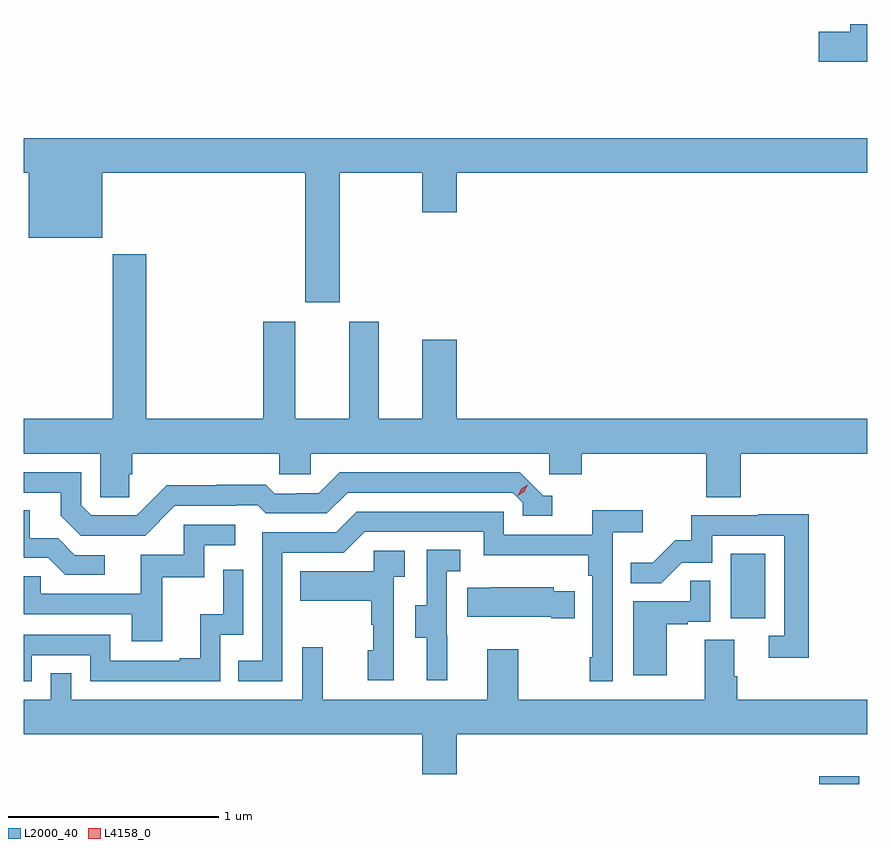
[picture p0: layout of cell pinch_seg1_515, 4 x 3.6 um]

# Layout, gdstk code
import gdstk
lib = gdstk.Library(unit=1e-6, precision=1e-09)
def R(c, l, rs):  # rectangles x0, y0, x1, y1
    for r in rs: c.add(gdstk.rectangle(r[:2], r[2:], *l))
def P(c, l, *ps):  # polygons
    for p in ps: c.add(gdstk.Polygon(p, *l))
L2000_40 = (2000, 40)
L4158_0 = (4158, 0)

pinch_seg1_515 = lib.new_cell('pinch_seg1_515')
R(pinch_seg1_515, L2000_40, [(1077.979,536.845,1078.168,536.881), (1077.56,537.63,1077.724,537.937)])
P(pinch_seg1_515, L2000_40, [(1078.207,540.449),(1078.127,540.449),(1078.127,540.413),(1077.978,540.413),(1077.978,540.271),(1078.207,540.271)],
  [(1075.705,539.744),(1076.096,539.744),(1076.096,539.556),(1076.26,539.556),(1076.26,539.744),(1078.207,539.744),(1078.207,539.908),(1074.207,539.908),(1074.207,539.744),(1074.23,539.744),(1074.23,539.435),(1074.58,539.435),(1074.58,539.744),(1075.541,539.744),(1075.541,539.13),(1075.705,539.13)],
  [(1074.707,538.314),(1074.722,538.314),(1074.722,538.412),(1075.419,538.412),(1075.419,538.314),(1075.569,538.314),(1075.569,538.412),(1076.7,538.412),(1076.7,538.314),(1076.852,538.314),(1076.852,538.412),(1077.443,538.412),(1077.443,538.204),(1077.608,538.204),(1077.608,538.412),(1078.207,538.412),(1078.207,538.576),(1076.26,538.576),(1076.26,538.951),(1076.096,538.951),(1076.096,538.576),(1075.891,538.576),(1075.891,539.038),(1075.751,539.038),(1075.751,538.576),(1075.495,538.576),(1075.495,539.038),(1075.343,539.038),(1075.343,538.576),(1074.788,538.576),(1074.788,539.356),(1074.628,539.356),(1074.628,538.576),(1074.207,538.576),(1074.207,538.412),(1074.57,538.412),(1074.57,538.204),(1074.707,538.204)],
  [(1074.924,538.164),(1075.217,538.164),(1075.217,538.167),(1075.316,538.167),(1075.355,538.128),(1075.644,538.128),(1075.743,538.227),(1076.526,538.227),(1076.574,538.179),(1076.574,538.116),(1076.713,538.116),(1076.713,538.212),(1076.67,538.212),(1076.559,538.323),(1075.706,538.323),(1075.607,538.224),(1075.5,538.224),(1075.5,538.221),(1075.397,538.221),(1075.355,538.264),(1075.122,538.264),(1075.122,538.261),(1074.886,538.261),(1074.744,538.119),(1074.528,538.119),(1074.48,538.167),(1074.48,538.323),(1074.207,538.323),(1074.207,538.227),(1074.383,538.227),(1074.383,538.117),(1074.477,538.023),(1074.783,538.023)],
  [(1075.434,537.942),(1075.725,537.942),(1075.824,538.041),(1076.388,538.041),(1076.388,537.929),(1076.884,537.929),(1076.884,537.833),(1076.904,537.833),(1076.904,537.445),(1076.892,537.445),(1076.892,537.333),(1077,537.333),(1077,538.04),(1077.142,538.04),(1077.142,538.142),(1076.903,538.142),(1076.903,538.026),(1076.484,538.026),(1076.484,538.137),(1075.787,538.137),(1075.688,538.038),(1075.338,538.038),(1075.338,537.429),(1075.225,537.429),(1075.225,537.333),(1075.434,537.333)],
  [(1074.592,537.93),(1074.45,537.93),(1074.37,538.01),(1074.235,538.01),(1074.235,538.142),(1074.207,538.142),(1074.207,537.918),(1074.323,537.918),(1074.404,537.837),(1074.592,537.837)],
  [(1077.929,538.124),(1077.691,538.124),(1077.691,538.119),(1077.373,538.119),(1077.373,538.002),(1077.296,538.002),(1077.189,537.895),(1077.085,537.895),(1077.085,537.796),(1077.229,537.796),(1077.327,537.894),(1077.471,537.894),(1077.471,538.023),(1077.813,538.023),(1077.813,537.549),(1077.741,537.549),(1077.741,537.444),(1077.929,537.444)],
  [(1074.863,537.825),(1075.062,537.825),(1075.062,537.978),(1075.21,537.978),(1075.21,538.074),(1074.966,538.074),(1074.966,537.933),(1074.761,537.933),(1074.761,537.747),(1074.287,537.747),(1074.287,537.831),(1074.207,537.831),(1074.207,537.651),(1074.719,537.651),(1074.719,537.522),(1074.863,537.522)],
  [(1076.216,537.549),(1076.214,537.549),(1076.214,537.853),(1076.278,537.853),(1076.278,537.956),(1076.118,537.956),(1076.118,537.693),(1076.063,537.693),(1076.063,537.538),(1076.117,537.538),(1076.117,537.336),(1076.216,537.336)],
  [(1075.962,537.827),(1076.014,537.827),(1076.014,537.951),(1075.866,537.951),(1075.866,537.853),(1075.519,537.853),(1075.519,537.713),(1075.854,537.713),(1075.854,537.599),(1075.864,537.599),(1075.864,537.48),(1075.838,537.48),(1075.838,537.336),(1075.962,537.336)],
  [(1074.246,537.456),(1074.522,537.456),(1074.522,537.333),(1075.14,537.333),(1075.14,537.552),(1075.248,537.552),(1075.248,537.862),(1075.152,537.862),(1075.152,537.65),(1075.043,537.65),(1075.043,537.442),(1074.947,537.442),(1074.947,537.429),(1074.618,537.429),(1074.618,537.552),(1074.207,537.552),(1074.207,537.333),(1074.246,537.333)],
  [(1077.256,537.603),(1077.356,537.603),(1077.356,537.615),(1077.462,537.615),(1077.462,537.809),(1077.367,537.809),(1077.367,537.711),(1077.098,537.711),(1077.098,537.36),(1077.256,537.36)],
  [(1076.819,537.76),(1076.721,537.76),(1076.721,537.778),(1076.419,537.778),(1076.419,537.775),(1076.311,537.775),(1076.311,537.638),(1076.708,537.638),(1076.708,537.631),(1076.819,537.631)],
  [(1076.096,536.892),(1076.26,536.892),(1076.26,537.08),(1078.207,537.08),(1078.207,537.244),(1077.59,537.244),(1077.59,537.356),(1077.577,537.356),(1077.577,537.53),(1077.437,537.53),(1077.437,537.244),(1076.553,537.244),(1076.553,537.484),(1076.405,537.484),(1076.405,537.244),(1075.625,537.244),(1075.625,537.493),(1075.527,537.493),(1075.527,537.244),(1074.432,537.244),(1074.432,537.371),(1074.336,537.371),(1074.336,537.244),(1074.207,537.244),(1074.207,537.08),(1076.096,537.08)])
P(pinch_seg1_515, L4158_0, [(1076.55,538.213),(1076.55,538.213),(1076.566,538.246),(1076.597,538.265),(1076.598,538.265),(1076.598,538.265),(1076.581,538.232),(1076.55,538.213)])

lib.write_gds('pinch_seg1_515.gds')
